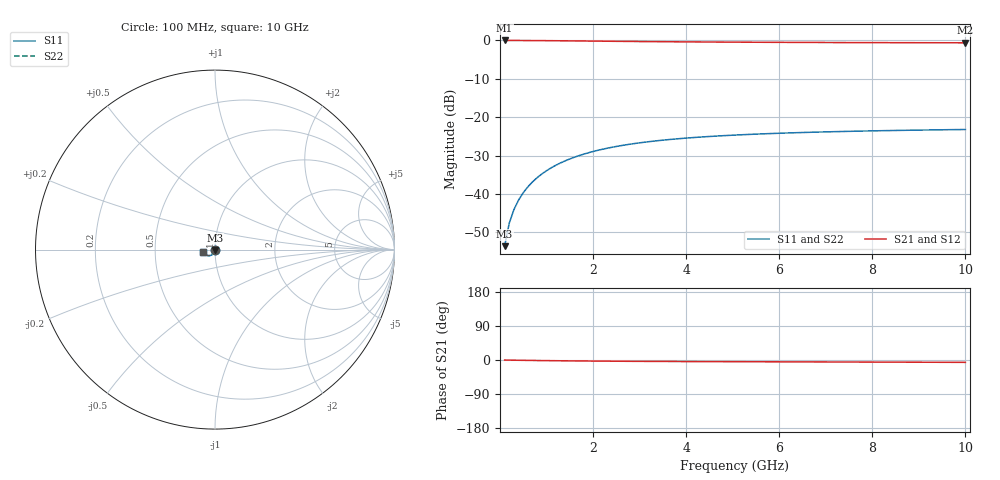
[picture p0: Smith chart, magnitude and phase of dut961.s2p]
! Touchstone file exported from HFSS 2024.1.0
!  File:  C:/UserFiles/LocalFiles/RDL_TSV_Batchsim/temp_TSV1_961_1779950242.aedt
!  Generated:  02:43:42 PM May 28, 2026
!  Design:  TSV1
!  Project:  temp_TSV1_961_1779950242
!  Setup:  Setup1
!  Solution:  Sweep
! Variables:
!  dtsv = 13.82um
!  hbump = 3um
!  htsv = 97.01um
!  lrdl = 252.1521522um
!  p = 40
!  p1 = 53.14um
!  t = 500um
!  trdl = 3um
!  wrdl = 24.89489489um
# GHz S MA R 50.000000
! Terminal data exported
! Port[1] = TSV22_T1
! Port[2] = TSV22_T2
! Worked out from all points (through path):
!   100 points, 100 MHz to 10 GHz, reference 50 ohm
!   highest |S21| = 0.00 dB at 100 MHz (marker M1); lowest = -0.6 dB at 10 GHz (marker M2)
!   lowest |S11| = -53.6 dB at 100 MHz (marker M3), VSWR 1.00, Z = 50 - j0.209 ohm
!   |S11| at or under -10 dB: start of sweep to end of sweep
!   |S22| runs from -53.6 to -23.2 dB; largest |S21 - S12| = 4.2e-15
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0.1  0.002087 -89.2  0.9998 -0.2  0.9998 -0.2  0.002087 -89.2
! Gamma 0 0 0 0
! Port Impedance 50 0 50 0
0.2  0.004172 -92.2  0.9996 -0.3  0.9996 -0.3  0.004172 -92.2
0.3  0.006254 -94.4  0.9993 -0.5  0.9993 -0.5  0.006254 -94.4
0.4  0.008322 -96.4  0.9988 -0.7  0.9988 -0.7  0.008322 -96.4
0.5  0.01037 -98.3  0.9982 -0.9  0.9982 -0.9  0.01037 -98.3
0.6  0.01239 -100.2  0.9975 -1.0  0.9975 -1.0  0.01239 -100.2
0.7  0.01437 -102.0  0.9967 -1.2  0.9967 -1.2  0.01437 -102.0
0.8  0.01632 -103.8  0.9958 -1.3  0.9958 -1.3  0.01632 -103.8
0.9  0.01822 -105.6  0.9949 -1.5  0.9949 -1.5  0.01822 -105.6
1.1  0.02188 -109.0  0.9927 -1.8  0.9927 -1.8  0.02188 -109.0
1.4  0.02698 -113.8  0.9891 -2.2  0.9891 -2.2  0.02698 -113.8
1.6  0.03011 -116.8  0.9864 -2.4  0.9864 -2.4  0.03011 -116.8
1.8  0.03302 -119.7  0.9838 -2.6  0.9838 -2.6  0.03302 -119.7
2.1  0.03698 -123.7  0.9797 -2.9  0.9797 -2.9  0.03698 -123.7
2.5  0.04157 -128.5  0.9745 -3.2  0.9745 -3.2  0.04157 -128.5
2.9  0.04546 -132.7  0.9696 -3.5  0.9696 -3.5  0.04546 -132.7
3.4  0.04951 -137.4  0.9641 -3.8  0.9641 -3.8  0.04951 -137.4
4.2  0.05454 -143.7  0.9567 -4.1  0.9567 -4.1  0.05454 -143.7
5.1  0.05869 -149.4  0.9501 -4.5  0.9501 -4.5  0.05869 -149.4
6.7  0.06368 -157.2  0.9417 -5.1  0.9417 -5.1  0.06367 -157.2
8.4  0.06702 -163.5  0.9358 -5.6  0.9358 -5.6  0.06702 -163.5
10  0.06915 -168.3  0.932 -6.2  0.932 -6.2  0.06915 -168.3
